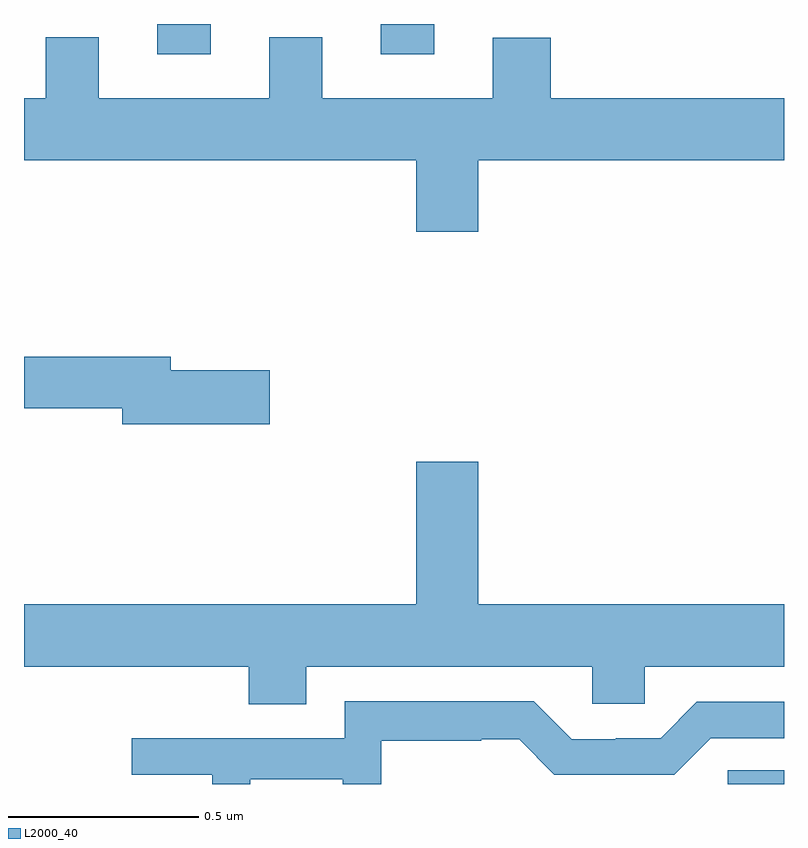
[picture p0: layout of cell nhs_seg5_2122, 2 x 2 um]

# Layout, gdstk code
import gdstk
lib = gdstk.Library(unit=1e-6, precision=1e-09)
def R(c, l, rs):  # rectangles x0, y0, x1, y1
    for r in rs: c.add(gdstk.rectangle(r[:2], r[2:], *l))
def P(c, l, *ps):  # polygons
    for p in ps: c.add(gdstk.Polygon(p, *l))
L2000_40 = (2000, 40)

nhs_seg5_2122 = lib.new_cell('nhs_seg5_2122')
R(nhs_seg5_2122, L2000_40, [(141.852,841.799,142,841.835), (140.351,843.72,140.491,843.799), (140.939,843.72,141.079,843.799)])
P(nhs_seg5_2122, L2000_40, [(141.196,843.44),(142,843.44),(142,843.604),(141.386,843.604),(141.386,843.763),(141.233,843.763),(141.233,843.604),(140.785,843.604),(140.785,843.764),(140.645,843.764),(140.645,843.604),(140.197,843.604),(140.197,843.764),(140.057,843.764),(140.057,843.604),(140,843.604),(140,843.44),(141.032,843.44),(141.032,843.252),(141.196,843.252)],
  [(140.647,842.888),(140.386,842.888),(140.386,842.924),(140,842.924),(140,842.788),(140.258,842.788),(140.258,842.746),(140.647,842.746)],
  [(140.743,842.108),(141.495,842.108),(141.495,842.01),(141.633,842.01),(141.633,842.108),(142,842.108),(142,842.272),(141.196,842.272),(141.196,842.647),(141.032,842.647),(141.032,842.272),(140,842.272),(140,842.108),(140.591,842.108),(140.591,842.009),(140.743,842.009)],
  [(140.595,841.812),(140.839,841.812),(140.839,841.799),(140.94,841.799),(140.94,841.913),(141.203,841.913),(141.203,841.917),(141.303,841.917),(141.396,841.824),(141.711,841.824),(141.807,841.92),(142,841.92),(142,842.016),(141.771,842.016),(141.675,841.92),(141.557,841.92),(141.557,841.917),(141.441,841.917),(141.341,842.017),(140.844,842.017),(140.844,841.92),(140.283,841.92),(140.283,841.824),(140.496,841.824),(140.496,841.799),(140.595,841.799)])

lib.write_gds('nhs_seg5_2122.gds')
